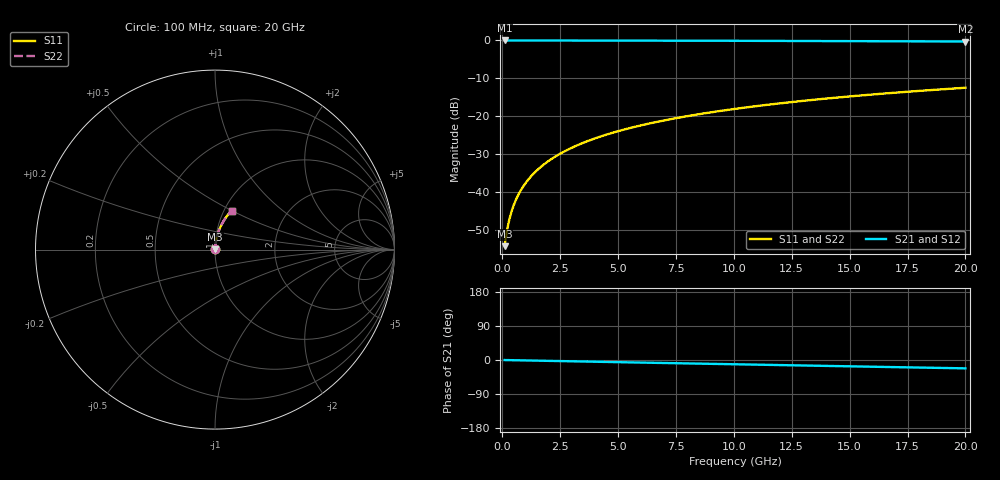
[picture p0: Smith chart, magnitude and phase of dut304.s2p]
! Touchstone file exported from HFSS 2026.1.0
!  File:  C:/ffzhzh/LocalFiles/Ansys_Project_Files/temp_train_BSMRDL_304_1783010532_51716.aedt
!  Generated:  12:43:39 AM Jul  3, 2026
!  Design:  BSMRDL
!  Project:  temp_train_BSMRDL_304_1783010532_51716
! Variables:
!  h_bsmrdl = 3.33um
!  h_ox = 20um
!  h_rdl = 5um
!  h_sub = 80um
!  h_tmrdl = 5um
!  h_tsv = 80um
!  h_via = 3um
!  l_bsmrdl = 260.9um
!  l_sub = 660.9um
!  l_tmrdl = 200um
!  m_sub = 200um
!  pitch = 59.47um
!  r_tsv = 6um
!  s_tmrdl = 10um
!  w_bsmrdl = 25.37um
!  w_sub = 500um
!  w_tmrdl = 12um
!  x_tsv_center1 = 206um
!  x_tsv_center2 = 492.27um
!  x_tsv_center3 = 704.27um
!  x_tsv_center4 = 990.54um
!  x_tsv_center5 = 1202.54um
!  x_tsv_center6 = 1488.81um
# GHz S MA R 50.000000
! Terminal data exported
! Port[1] = BSM_RDL1_1_T1
! Port[2] = BSM_RDL1_1_T2
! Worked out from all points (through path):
!   200 points, 100 MHz to 20 GHz, reference 50 ohm
!   highest |S21| = -0.01 dB at 100 MHz (marker M1); lowest = -0.3 dB at 20 GHz (marker M2)
!   group delay of S21, straight-line fit = 3.06 ps
!   lowest |S11| = -54.3 dB at 100 MHz (marker M3), VSWR 1.00, Z = 50.1 + j0.138 ohm
!   |S11| at or under -10 dB: start of sweep to end of sweep
!   |S22| runs from -54.3 to -12.5 dB; largest |S21 - S12| = 2.1e-15
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0.1  0.001922 45.6  0.9987 -0.1  0.9987 -0.1  0.001922 45.6
! Gamma 0 0 0 0
! Port Impedance 50 0 50 0
0.2  0.00306 62.5  0.9986 -0.2  0.9986 -0.2  0.00306 62.5
0.3  0.004287 69.6  0.9985 -0.4  0.9985 -0.4  0.004287 69.6
0.4  0.005525 73.4  0.9985 -0.5  0.9985 -0.5  0.005525 73.4
0.5  0.006765 75.9  0.9984 -0.6  0.9984 -0.6  0.006765 75.9
0.7  0.009253 79.0  0.9983 -0.8  0.9983 -0.8  0.009253 79.0
0.8  0.0105 80.0  0.9983 -0.9  0.9983 -0.9  0.0105 80.0
1  0.01301 81.3  0.9982 -1.2  0.9982 -1.2  0.01301 81.3
1.2  0.01553 82.2  0.9982 -1.4  0.9982 -1.4  0.01553 82.2
1.4  0.01805 82.8  0.9981 -1.6  0.9981 -1.6  0.01805 82.8
1.7  0.02184 83.3  0.998 -1.9  0.998 -1.9  0.02184 83.3
2  0.02564 83.6  0.9978 -2.3  0.9978 -2.3  0.02564 83.6
2.7  0.03449 83.7  0.9975 -3.1  0.9975 -3.1  0.03449 83.7
3.5  0.04457 83.3  0.9969 -4.0  0.9969 -4.0  0.04457 83.3
4.2  0.05336 82.8  0.9963 -4.8  0.9963 -4.8  0.05336 82.8
5  0.06334 82.1  0.9955 -5.7  0.9955 -5.7  0.06334 82.1
6.8  0.08557 80.3  0.9934 -7.7  0.9934 -7.7  0.08557 80.3
8.3  0.1038 78.8  0.9913 -9.4  0.9913 -9.4  0.1038 78.8
10.1  0.1254 76.9  0.9884 -11.4  0.9884 -11.4  0.1254 76.9
13.4  0.164 73.5  0.9821 -15.0  0.9821 -15.0  0.164 73.5
16.7  0.2013 70.1  0.9746 -18.6  0.9746 -18.6  0.2013 70.0
20  0.2371 66.7  0.9661 -22.0  0.9661 -22.0  0.2371 66.7
